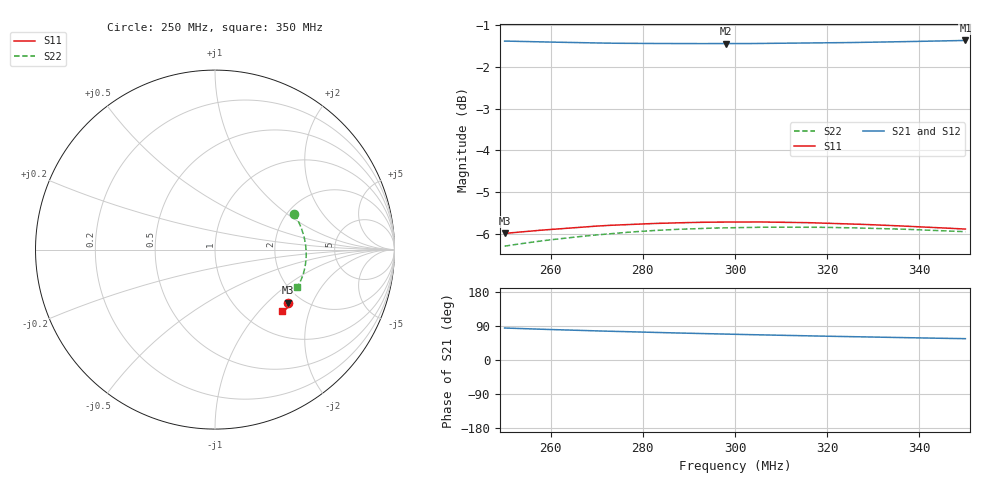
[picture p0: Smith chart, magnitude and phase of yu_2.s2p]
! Created Thu Nov 16 15:09:13 2023
# hz S ma R 50
! 2 Port Network Data from SP1.SP block
! freq  magS11  angS11  magS21  angS21  magS12  angS12  magS22  angS22
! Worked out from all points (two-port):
!   201 points, 250 MHz to 350 MHz, reference 50 ohm
!   highest |S21| = -1.36 dB at 350 MHz (marker M1); lowest = -1.4 dB at 298 MHz (marker M2)
!   |S21| within 3 dB of the highest: start of sweep to end of sweep
!   lowest |S11| = -6.0 dB at 250 MHz (marker M3), VSWR 3.01, Z = 84.8 - j67 ohm
!   |S11| at or under -10 dB: nowhere
!   |S22| runs from -6.3 to -5.8 dB; largest |S21 - S12| = 0.0093
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2.5e8  0.5017 -36.1  0.8534 84.4  0.8544 84.9  0.4845 24.0
2.535e8  0.5039 -36.1  0.8526 83.0  0.8533 83.5  0.4878 21.2
2.58e8  0.5063 -36.1  0.8516 81.2  0.8521 81.7  0.4915 17.7
2.625e8  0.5085 -36.2  0.8505 79.5  0.8509 80.0  0.4949 14.5
2.67e8  0.5107 -36.3  0.8496 77.9  0.8497 78.4  0.4979 11.5
2.71e8  0.5125 -36.5  0.8488 76.5  0.8488 77.0  0.5003 8.9
2.75e8  0.5138 -36.7  0.8483 75.2  0.8482 75.7  0.5025 6.6
2.79e8  0.515 -36.9  0.848 73.9  0.8478 74.4  0.5045 4.3
2.835e8  0.516 -37.2  0.8477 72.5  0.8474 73.0  0.5062 1.8
2.87e8  0.5167 -37.4  0.8476 71.4  0.8471 71.9  0.5074 -0.0
2.91e8  0.5172 -37.7  0.8475 70.3  0.847 70.8  0.5084 -2.0
2.98e8  0.5178 -38.2  0.8475 68.3  0.8468 68.8  0.5097 -5.3
3e8  0.5179 -38.4  0.8475 67.8  0.8467 68.3  0.51 -6.2
3.045e8  0.5179 -38.7  0.8477 66.6  0.8468 67.1  0.5104 -8.2
3.08e8  0.5178 -39.0  0.8479 65.7  0.8469 66.2  0.5106 -9.7
3.125e8  0.5174 -39.4  0.8483 64.6  0.8472 65.1  0.5106 -11.5
3.17e8  0.5168 -39.7  0.8489 63.5  0.8475 64.0  0.5105 -13.2
3.245e8  0.5153 -40.4  0.8499 61.7  0.8484 62.3  0.5098 -16.0
3.285e8  0.5143 -40.7  0.8505 60.8  0.849 61.4  0.5092 -17.5
3.335e8  0.513 -41.2  0.8514 59.7  0.8498 60.3  0.5083 -19.2
3.405e8  0.5109 -41.8  0.8528 58.2  0.8512 58.8  0.5068 -21.5
3.5e8  0.5079 -42.7  0.8549 56.3  0.8534 56.9  0.5042 -24.4
